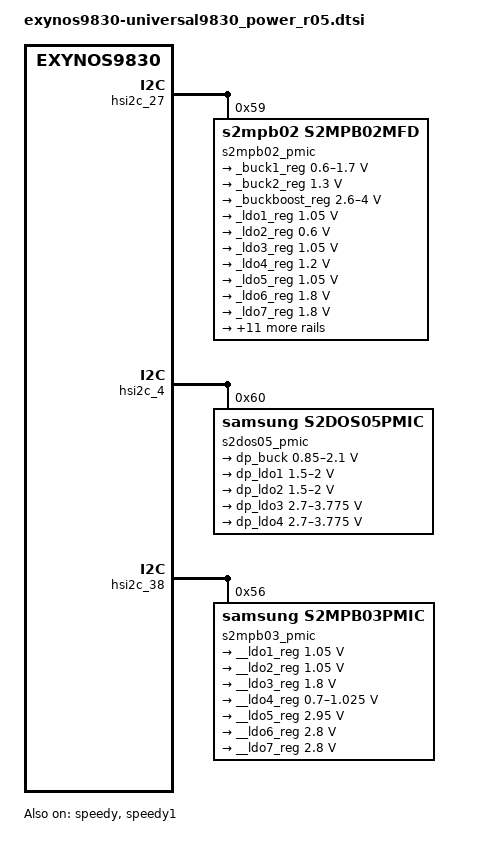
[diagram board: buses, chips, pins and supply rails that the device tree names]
/*
 * SAMSUNG EXYNOS9830 power management device tree source
 *
 * Copyright (c) 2019 Samsung Electronics Co., Ltd.
 *		http://www.samsung.com
 *
 * This program is free software; you can redistribute it and/or modify
 * it under the terms of the GNU General Public License version 2 as
 * published by the Free Software Foundation.
*/

&pinctrl_0 {
	m_pmic_irq: m-pmic-irq {
		samsung,pins = "gpa0-1";
		samsung,pin-pud = <3>;
		samsung,pin-drv = <3>;
	};

	s_pmic_irq: s-pmic-irq {
		samsung,pins = "gpa2-5";
		samsung,pin-pud = <3>;
		samsung,pin-drv = <3>;
	};

	dp_pmic_irq: dp-pmic-irq {
		samsung,pins = "gpa1-4";
		samsung,pin-function = <0>;
		samsung,pin-pud = <0>;
		samsung,pin-drv = <0>;
	};
};

&pinctrl_5 {
	sub_pmic_irq: sub-pmic-irq {
		samsung,pins = "gpg1-2";
		samsung,pin-function = <0>;
		samsung,pin-pud = <0>;
		samsung,pin-drv = <0>;
	};
};

&pinctrl_4 {
	smpl_warn: smpl-warn {
		samsung,pins = "gpg0-1";
		samsung,pin-function = <15>;
		samsung,pin-pud = <0>;
		samsung,pin-drv = <0>;
	};
};

&speedy {
	#address-cells = <1>;
	#size-cells = <0>;
	status = "okay";
	s2mps19mfd@00 {
		compatible = "samsung,s2mps19mfd";
		acpm-ipc-channel = <2>;
		acpm-speedy-channel = <0>;
		i2c-speedy-address;
		s2mps19,wakeup = "enabled";
		s2mps19,irq-gpio = <&gpa0 1 0>;
		reg = <0x00>;
		interrupts = <1 0 0>;
		interrupt-parent = <&gpa0>;
		pinctrl-names = "default";
		pinctrl-0 = <&m_pmic_irq &smpl_warn>;
		gpios = <&gpg0 1 0>;
		smpl_warn_en = <1>; /* 1 : enable , 0 : disable */
		/* range of smpl_warn_vth */
		/* 0x00 : 2.1V, 0x20 : 2.3V, 0x40 : 2.5V, 0x60 : 2.7V 0x80 : 2.9V */
		/* 0xA0 : 3.1V, 0xC0 : 3.3V, 0xE0 : 3.5V */
		smpl_warn_vth = <0x80>;
		/* LowBat_Hys[4:3] 00(100mV), 01(200mV), 10(300mV), 11(400mV) */
		smpl_warn_hys = <0x00>;
		ocp_warn1_en = <1>; /* 1 : enable, 0 : disable */
		ocp_warn1_cnt = <0>; /* ocp warn reset timing control, 0 : 2 clock, 1 : 32 clock */
		ocp_warn1_dvs_mask = <0>; /* ocp warn mask when dvs, 0 : not masked, 1 : masked  */
		ocp_warn1_lv = <0x0>; /* step : -250mA */
		ocp_warn2_en = <0>; /* 1 : enable, 0 : disable */
		ocp_warn2_cnt = <0>; /* ocp warn reset timing control, 0 : 2 clock, 1 : 32 clock */
		ocp_warn2_dvs_mask = <0>; /* ocp warn mask when dvs, 0 : not masked, 1 : masked  */
		ocp_warn2_lv = <0x0>; /* step : -250mA */
		adc_mode = <1>; /* 0 : disable, 1 : current meter, 2 : power meter */
		adc_sync_mode = <2>; /* 1 : sync mode, 2 : async mode */
		/* RTC: wtsr/smpl */
		wtsr_en = "enabled"; /* enable */
		smpl_en = "enabled"; /* enable */
		wtsr_timer_val = <3>;	/* 1000ms */
		smpl_timer_val = <4>;	/* 500ms */
		sub_smpl_en = "enabled"; /* enable */
		check_jigon = <0>; /* do not check jigon */
		/* RTC: If it's first boot, reset rtc to 1/1/2017 12:00:00(Sun) */
		init_time,sec = <0>;
		init_time,min = <0>;
		init_time,hour = <12>;
		init_time,mday = <1>;
		init_time,mon = <0>;
		init_time,year = <117>;
		init_time,wday = <0>;

		regulators {
			buck1_reg: BUCK1M {
				regulator-name = "m_vdd_buck1";
				regulator-min-microvolt = <450000>;
				regulator-max-microvolt = <1100000>;
				regulator-always-on;
				regulator-ramp-delay = <6000>;
				regulator-initial-mode = <2>;
			};

			buck2_reg: BUCK2M {
				regulator-name = "m_vdd_buck2";
				regulator-min-microvolt = <450000>;
				regulator-max-microvolt = <1300000>;
				regulator-always-on;
				regulator-ramp-delay = <6000>;
				regulator-initial-mode = <2>;
			};

			buck3_reg: BUCK3M {
				regulator-name = "m_vdd_buck3";
				regulator-min-microvolt = <450000>;
				regulator-max-microvolt = <1300000>;
				regulator-always-on;
				regulator-ramp-delay = <6000>;
				regulator-initial-mode = <2>;
			};

			buck5_reg: BUCK5M {
				regulator-name = "m_vdd_buck5";
				regulator-min-microvolt = <450000>;
				regulator-max-microvolt = <1100000>;
				regulator-always-on;
				regulator-ramp-delay = <6000>;
				regulator-initial-mode = <2>;
			};

			buck6_reg: BUCK6M {
				regulator-name = "m_vdd_buck6";
				regulator-min-microvolt = <450000>;
				regulator-max-microvolt = <1100000>;
				regulator-always-on;
				regulator-ramp-delay = <6000>;
				regulator-initial-mode = <1>;
			};

			buck7_reg: BUCK7M {
				regulator-name = "m_vdd_buck7";
				regulator-min-microvolt = <450000>;
				regulator-max-microvolt = <1300000>;
				regulator-always-on;
				regulator-ramp-delay = <6000>;
				regulator-initial-mode = <2>;
			};

			buck8_reg: BUCK8M {
				regulator-name = "m_vdd_buck8";
				regulator-min-microvolt = <450000>;
				regulator-max-microvolt = <950000>;
				regulator-always-on;
				regulator-ramp-delay = <6000>;
				regulator-initial-mode = <2>;
			};

			buck9_reg: BUCK9M {
				regulator-name = "m_vdd_buck9";
				regulator-min-microvolt = <800000>;
				regulator-max-microvolt = <1300000>;
				regulator-always-on;
				regulator-ramp-delay = <6000>;
				regulator-initial-mode = <3>;
			};

			buck10_reg: BUCK10M {
				regulator-name = "m_vdd_buck10";
				regulator-min-microvolt = <800000>;
				regulator-max-microvolt = <1300000>;
				regulator-always-on;
				regulator-ramp-delay = <6000>;
				regulator-initial-mode = <3>;
			};

			buck11_reg: BUCK11M {
				regulator-name = "m_vdd_buck11";
				regulator-min-microvolt = <1100000>;
				regulator-max-microvolt = <1500000>;
				regulator-always-on;
				regulator-ramp-delay = <6000>;
				regulator-initial-mode = <3>;
			};

			buck12_reg: BUCK12M {
				regulator-name = "m_vdd_buck12";
				regulator-min-microvolt = <1750000>;
				regulator-max-microvolt = <2150000>;
				regulator-always-on;
				regulator-ramp-delay = <6000>;
				regulator-initial-mode = <3>;
			};

			ldo1_reg: LDO1M {
				regulator-name = "m_vdd_ldo1";
				regulator-min-microvolt = <700000>;
				regulator-max-microvolt = <950000>;
				regulator-always-on;
				regulator-ramp-delay = <12000>;
				regulator-initial-mode = <3>;
			};

			ldo2_reg: LDO2M {
				regulator-name = "vqmmc";
				regulator-min-microvolt = <1700000>;
				regulator-max-microvolt = <3300000>;
				regulator-ramp-delay = <12000>;
				regulator-initial-mode = <3>;
			};

			ldo3_reg: LDO3M {
				regulator-name = "m_vdd_ldo3";
				regulator-min-microvolt = <700000>;
				regulator-max-microvolt = <1100000>;
				regulator-always-on;
				regulator-ramp-delay = <12000>;
				regulator-initial-mode = <1>;
			};

			ldo4_reg: LDO4M {
				regulator-name = "m_vdd_ldo4";
				regulator-min-microvolt = <1600000>;
				regulator-max-microvolt = <1950000>;
				regulator-always-on;
				regulator-ramp-delay = <12000>;
				regulator-initial-mode = <1>;
			};

			ldo5_reg: LDO5M {
				regulator-name = "m_vdd_ldo5";
				regulator-min-microvolt = <450000>;
				regulator-max-microvolt = <1100000>;
				regulator-always-on;
				regulator-ramp-delay = <12000>;
				regulator-initial-mode = <1>;
			};

			ldo6_reg: LDO6M {
				regulator-name = "m_vdd_ldo6";
				regulator-min-microvolt = <450000>;
				regulator-max-microvolt = <950000>;
				regulator-always-on;
				regulator-ramp-delay = <12000>;
				regulator-initial-mode = <1>;
			};

			ldo9_reg: LDO9M {
				regulator-name = "m_vdd_ldo9";
				regulator-min-microvolt = <700000>;
				regulator-max-microvolt = <1300000>;
				regulator-always-on;
				regulator-ramp-delay = <12000>;
				regulator-initial-mode = <1>;
			};

			ldo10_reg: LDO10M {
				regulator-name = "m_vdd_ldo10";
				regulator-min-microvolt = <700000>;
				regulator-max-microvolt = <1100000>;
				regulator-boot-on;
				regulator-ramp-delay = <12000>;
				regulator-initial-mode = <3>;
			};

			ldo11_reg: LDO11M {
				regulator-name = "m_vdd_ldo11";
				regulator-min-microvolt = <1600000>;
				regulator-max-microvolt = <1950000>;
				regulator-boot-on;
				regulator-ramp-delay = <12000>;
				regulator-initial-mode = <3>;
			};

			ldo12_reg: LDO12M {
				regulator-name = "m_vdd_ldo12";
				regulator-min-microvolt = <1700000>;
				regulator-max-microvolt = <3350000>;
				regulator-boot-on;
				regulator-ramp-delay = <12000>;
				regulator-initial-mode = <3>;
			};

			ldo13_reg: LDO13M {
				regulator-name = "m_vdd_ldo13";
				regulator-min-microvolt = <1800000>;
				regulator-max-microvolt = <3350000>;
				regulator-boot-on;
				regulator-ramp-delay = <12000>;
				regulator-initial-mode = <1>;
			};

			ldo14_reg: LDO14M {
				regulator-name = "m_vdd_ldo14";
				regulator-min-microvolt = <1800000>;
				regulator-max-microvolt = <3350000>;
				regulator-boot-on;
				regulator-ramp-delay = <12000>;
				regulator-initial-mode = <1>;
			};

			ldo15_reg: LDO15M {
				regulator-name = "vmmc";
				regulator-min-microvolt = <2500000>;
				regulator-max-microvolt = <3300000>;
				regulator-ramp-delay = <12000>;
				regulator-initial-mode = <3>;
			};

			ldo16_reg: LDO16M {
				regulator-name = "m_vdd_ldo16";
				regulator-min-microvolt = <2500000>;
				regulator-max-microvolt = <3300000>;
				regulator-always-on;
				regulator-ramp-delay = <12000>;
				regulator-initial-mode = <3>;
			};

			ldo17_reg: LDO17M {
				regulator-name = "m_vdd_ldo17";
				regulator-min-microvolt = <1600000>;
				regulator-max-microvolt = <2200000>;
				regulator-always-on;
				regulator-ramp-delay = <12000>;
				regulator-initial-mode = <3>;
			};

			ldo18_reg: LDO18M {
				regulator-name = "m_vdd_ldo18";
				regulator-min-microvolt = <700000>;
				regulator-max-microvolt = <1300000>;
				regulator-always-on;
				regulator-ramp-delay = <12000>;
				regulator-initial-mode = <3>;
			};

			ldo19_reg: LDO19M {
				regulator-name = "m_vdd_ldo19";
				regulator-min-microvolt = <1600000>;
				regulator-max-microvolt = <2200000>;
				regulator-always-on;
				regulator-ramp-delay = <12000>;
				regulator-initial-mode = <3>;
			};

			ldo20_reg: LDO20M {
				regulator-name = "m_vdd_ldo20";
				regulator-min-microvolt = <2500000>;
				regulator-max-microvolt = <3300000>;
				regulator-always-on;
				regulator-ramp-delay = <12000>;
				regulator-initial-mode = <3>;
			};

			ldo21_reg: LDO21M {
				regulator-name = "m_vdd_ldo21";
				regulator-min-microvolt = <1600000>;
				regulator-max-microvolt = <2200000>;
				regulator-always-on;
				regulator-ramp-delay = <12000>;
				regulator-initial-mode = <3>;
			};

			ldo22_reg: LDO22M {
				regulator-name = "m_vdd_ldo22";
				regulator-min-microvolt = <1600000>;
				regulator-max-microvolt = <2200000>;
				regulator-always-on;
				regulator-ramp-delay = <12000>;
				regulator-initial-mode = <3>;
			};

			ldo23_reg: LDO23M {
				regulator-name = "VDDD_1.2V_FRONTSUB";
				regulator-min-microvolt = <700000>;
				regulator-max-microvolt = <1300000>;
				regulator-ramp-delay = <12000>;
				regulator-initial-mode = <3>;
			};

			ldo24_reg: LDO24M {
				regulator-name = "VDDA_2.8V_FRONTSUB";
				regulator-min-microvolt = <2500000>;
				regulator-max-microvolt = <3300000>;
				regulator-ramp-delay = <12000>;
				regulator-initial-mode = <3>;
			};

			ldo25_reg: LDO25M {
				regulator-name = "VDDIO_1.8V_FRONTSUB";
				regulator-min-microvolt = <1600000>;
				regulator-max-microvolt = <2200000>;
				regulator-ramp-delay = <12000>;
				regulator-initial-mode = <3>;
			};

			ldo26_reg: LDO26M {
				regulator-name = "m_vdd_ldo26";
				regulator-min-microvolt = <1800000>;
				regulator-max-microvolt = <2200000>;
				regulator-always-on;
				regulator-ramp-delay = <12000>;
				regulator-initial-mode = <3>;
			};

			ldo27_reg: LDO27M {
				regulator-name = "m_vdd_ldo27";
				regulator-min-microvolt = <2500000>;
				regulator-max-microvolt = <3300000>;
				regulator-always-on;
				regulator-ramp-delay = <12000>;
				regulator-initial-mode = <3>;
			};

			ldo28_reg: LDO28M {
				regulator-name = "m_vdd_ldo28";
				regulator-min-microvolt = <1600000>;
				regulator-max-microvolt = <2200000>;
				regulator-always-on;
				regulator-ramp-delay = <12000>;
				regulator-initial-mode = <3>;
			};

			ldo29_reg: LDO29M {
				regulator-name = "m_vdd_ldo29";
				regulator-min-microvolt = <2500000>;
				regulator-max-microvolt = <3300000>;
				regulator-always-on;
				regulator-ramp-delay = <12000>;
				regulator-initial-mode = <3>;
			};
		};
	};
};

&speedy1 {
	#address-cells = <1>;
	#size-cells = <0>;
	status = "okay";
	s2mps22mfd@00 {
		compatible = "samsung,s2mps22mfd";
		acpm-ipc-channel = <2>;
		acpm-speedy-channel = <1>;
		i2c-speedy-address;
		s2mps22,wakeup = "enabled";
		s2mps22,irq-gpio = <&gpa2 5 0>;
		reg = <0x00>;
		interrupts = <1 0 0>;
		interrupt-parent = <&gpa2>;
		pinctrl-names = "default";
		pinctrl-0 = <&s_pmic_irq>;
		adc_mode = <1>; /* 0 : disable, 1 : current meter, 2 : power meter */
		adc_sync_mode = <2>; /* 1 : sync mode, 2 : async mode */
		wtsr_en = <1>; /* 0 : disable, 1 : enable */

		regulators {
			s_buck1_reg: BUCK1S {
				regulator-name = "s_vdd_buck1";
				regulator-min-microvolt = <450000>;
				regulator-max-microvolt = <950000>;
				regulator-always-on;
				regulator-ramp-delay = <6000>;
				regulator-initial-mode = <1>;
			};

			s_buck2_reg: BUCK2S {
				regulator-name = "s_vdd_buck2";
				regulator-min-microvolt = <450000>;
				regulator-max-microvolt = <1100000>;
				regulator-always-on;
				regulator-ramp-delay = <6000>;
				regulator-initial-mode = <1>;
			};

			s_buck3_reg: BUCK3S {
				regulator-name = "s_vdd_buck3";
				regulator-min-microvolt = <450000>;
				regulator-max-microvolt = <1300000>;
				regulator-always-on;
				regulator-ramp-delay = <6000>;
				regulator-initial-mode = <1>;
			};

			s_buck4_reg: BUCK4S {
				regulator-name = "s_vdd_buck4";
				regulator-min-microvolt = <900000>;
				regulator-max-microvolt = <1300000>;
				regulator-always-on;
				regulator-ramp-delay = <6000>;
				regulator-initial-mode = <3>;
			};

			s_ldo1_reg: LDO1S {
				regulator-name = "s_vdd_ldo1";
				regulator-min-microvolt = <450000>;
				regulator-max-microvolt = <950000>;
				regulator-always-on;
				regulator-ramp-delay = <12000>;
				regulator-initial-mode = <1>;
			};

			s_ldo2_reg: LDO2S {
				regulator-name = "s_vdd_ldo2";
				regulator-min-microvolt = <450000>;
				regulator-max-microvolt = <950000>;
				regulator-always-on;
				regulator-ramp-delay = <12000>;
				regulator-initial-mode = <1>;
			};

			s_ldo3_reg: LDO3S {
				regulator-name = "s_vdd_ldo3";
				regulator-min-microvolt = <450000>;
				regulator-max-microvolt = <1300000>;
				regulator-always-on;
				regulator-ramp-delay = <12000>;
				regulator-initial-mode = <1>;
			};

			s_ldo4_reg: LDO4S {
				regulator-name = "s_vdd_ldo4";
				regulator-min-microvolt = <1600000>;
				regulator-max-microvolt = <1950000>;
				regulator-always-on;
				regulator-ramp-delay = <12000>;
				regulator-initial-mode = <3>;
			};

			s_ldo5_reg: LDO5S {
				regulator-name = "s_vdd_ldo5";
				regulator-min-microvolt = <700000>;
				regulator-max-microvolt = <1100000>;
				regulator-always-on;
				regulator-ramp-delay = <12000>;
				regulator-initial-mode = <1>;
			};

			s_ldo6_reg: LDO6S {
				regulator-name = "s_vdd_ldo6";
				regulator-min-microvolt = <1600000>;
				regulator-max-microvolt = <1950000>;
				regulator-always-on;
				regulator-ramp-delay = <12000>;
				regulator-initial-mode = <1>;
			};
		};
	};
};

&hsi2c_27 {
	#address-cells = <1>;
	#size-cells = <0>;
	status = "okay";
	s2mpb02_pmic@59 {
		compatible = "s2mpb02,s2mpb02mfd";
		reg = <0x59>;

		s2mpb02,wakeup;
		pinctrl-names = "default";
		pinctrl-0 = <&sub_pmic_irq>;

		regulators {
			_buck1_reg: s2mpb02-buck1 {
				regulator-name = "S2MPB02_BUCK1";
				regulator-min-microvolt = <600000>;
				regulator-max-microvolt = <1700000>;
				regulator-always-on;
				regulator-boot-on;
			};

			_buck2_reg: s2mpb02-buck2 {
				regulator-name = "S2MPB02_BUCK2";
				regulator-min-microvolt = <1300000>;
				regulator-max-microvolt = <1300000>;
				regulator-always-on;
				regulator-boot-on;
			};

			_buckboost_reg: s2mpb02-bb {
				regulator-name = "S2MPB02_BB";
				regulator-min-microvolt = <2600000>;
				regulator-max-microvolt = <4000000>;
				regulator-always-on;
				regulator-boot-on;
			};

			_ldo1_reg: s2mpb02-ldo1 {
				regulator-name = "VDDPHY_1.05V_CAM";
				regulator-min-microvolt = <1050000>;
				regulator-max-microvolt = <1050000>;
			};

			_ldo2_reg: s2mpb02-ldo2 {
				regulator-name = "S2MPB02_LDO2";
				regulator-min-microvolt = <600000>;
				regulator-max-microvolt = <600000>;
			};

			_ldo3_reg: s2mpb02-ldo3 {
				regulator-name = "VDDD_1.05V_WIDESUB";
				regulator-min-microvolt = <1050000>;
				regulator-max-microvolt = <1050000>;
			};

			_ldo4_reg: s2mpb02-ldo4 {
				regulator-name = "VDDD_1.2V_TOF";
				regulator-min-microvolt = <1200000>;
				regulator-max-microvolt = <1200000>;
			};

			_ldo5_reg: s2mpb02-ldo5 {
				regulator-name = "VDDD_1.05V_VT";
				regulator-min-microvolt = <1050000>;
				regulator-max-microvolt = <1050000>;
			};

			_ldo6_reg: s2mpb02-ldo6 {
				regulator-name = "VDDIO_1.8V_VT";
				regulator-min-microvolt = <1800000>;
				regulator-max-microvolt = <1800000>;
			};

			_ldo7_reg: s2mpb02-ldo7 {
				regulator-name = "VDDIO_1.8V_SUB";
				regulator-min-microvolt = <1800000>;
				regulator-max-microvolt = <1800000>;
			};

			_ldo8_reg: s2mpb02-ldo8 {
				regulator-name = "VDDIO_1.8V_WIDESUB";
				regulator-min-microvolt = <1800000>;
				regulator-max-microvolt = <1800000>;
			};

			_ldo9_reg: s2mpb02-ldo9 {
				regulator-name = "VDDIO_1.8V_TOF";
				regulator-min-microvolt = <1800000>;
				regulator-max-microvolt = <1800000>;
			};

			_ldo10_reg: s2mpb02-ldo10 {
				regulator-name = "VDDD_1.8V_OIS";
				regulator-min-microvolt = <1800000>;
				regulator-max-microvolt = <1800000>;
			};

			_ldo11_reg: s2mpb02-ldo11 {
				regulator-name = "VDDA_2.8V_SUB";
				regulator-min-microvolt = <2800000>;
				regulator-max-microvolt = <2800000>;
			};

			_ldo12_reg: s2mpb02-ldo12 {
				regulator-name = "VDDAF_2.8V_SUB";
				regulator-min-microvolt = <2800000>;
				regulator-max-microvolt = <2800000>;
			};

			_ldo13_reg: s2mpb02-ldo13 {
				regulator-name = "VDDA_2.8V_CAM";
				regulator-min-microvolt = <2800000>;
				regulator-max-microvolt = <2800000>;
			};

			_ldo14_reg: s2mpb02-ldo14 {
				regulator-name = "VDDAF_COMMON_CAM";
				regulator-min-microvolt = <3300000>;
				regulator-max-microvolt = <3300000>;
			};

			_ldo15_reg: s2mpb02-ldo15 {
				regulator-name = "VDDD_3.3V_TOF";
				regulator-min-microvolt = <3300000>;
				regulator-max-microvolt = <3300000>;
			};

			_ldo16_reg: s2mpb02-ldo16 {
				regulator-name = "VDDAF_2.8V_VT";
				regulator-min-microvolt = <2800000>;
				regulator-max-microvolt = <2800000>;
			};

			_ldo17_reg: s2mpb02-ldo17 {
				regulator-name = "VDDA_2.7V_TOF";
				regulator-min-microvolt = <2700000>;
				regulator-max-microvolt = <2700000>;
			};

			_ldo18_reg: s2mpb02-ldo18 {
				regulator-name = "S2MPB02_LDO18";
				regulator-min-microvolt = <3300000>;
				regulator-max-microvolt = <3300000>;
				regulator-always-on;
				regulator-boot-on;
			};
		};
	};
};

&hsi2c_4 {
	#address-cells = <1>;
	#size-cells = <0>;
	status = "okay";
	s2dos05_pmic@60 {
		compatible = "samsung,s2dos05pmic";
		reg = <0x60>;
		s2dos05,wakeup;
		pinctrl-names = "default";
		pinctrl-0 = <&dp_pmic_irq>;
		s2dos05,s2dos05_int = <&gpa1 4 0>;
		adc_mode = <1>; /* 0 : disable, 1 : current meter, 2 : power meter */
		adc_sync_mode = <2>; /* 1 : sync mode, 2 : async mode */
		regulators {
			dp_buck: s2dos05-buck1 {
				regulator-name = "vdd1";
				regulator-min-microvolt = <850000>;
				regulator-max-microvolt = <2100000>;
				regulator-always-on;
				regulator-boot-on;
			};
			dp_ldo1: s2dos05-ldo1 {
				regulator-name = "vdd2";
				regulator-min-microvolt = <1500000>;
				regulator-max-microvolt = <2000000>;
				regulator-always-on;
				regulator-boot-on;
			};
			dp_ldo2: s2dos05-ldo2 {
				regulator-name = "vdd3";
				regulator-min-microvolt = <1500000>;
				regulator-max-microvolt = <2000000>;
				regulator-always-on;
				regulator-boot-on;
			};
			dp_ldo3: s2dos05-ldo3{
				regulator-name = "vdd4";
				regulator-min-microvolt = <2700000>;
				regulator-max-microvolt = <3775000>;
				regulator-always-on;
				regulator-boot-on;
			};
			dp_ldo4: s2dos05-ldo4{
				regulator-name = "vdd5";
				regulator-min-microvolt = <2700000>;
				regulator-max-microvolt = <3775000>;
				regulator-always-on;
				regulator-boot-on;
			};
		};
	};
};

&hsi2c_38 {
	#address-cells = <1>;
	#size-cells = <0>;
	status = "okay";
	s2mpb03_pmic@56 {
		compatible = "samsung,s2mpb03pmic";
		reg = <0x56>;

		s2mpb03,wakeup;

		regulators {
			__ldo1_reg: s2mpb03-ldo1 {
				regulator-name = "VDDD_1.05V_SUB";
				regulator-min-microvolt = <1050000>;
				regulator-max-microvolt = <1050000>;
			};

			__ldo2_reg: s2mpb03-ldo2 {
				regulator-name = "VDDD_1.05V_CAM";
				regulator-min-microvolt = <1050000>;
				regulator-max-microvolt = <1050000>;
			};

			__ldo3_reg: s2mpb03-ldo3 {
				regulator-name = "VDDIO_1.8V_CAM";
				regulator-min-microvolt = <1800000>;
				regulator-max-microvolt = <1800000>;
			};

			__ldo4_reg: s2mpb03-ldo4 {
				regulator-name = "VDDD_RET_1.0V_CAM";
				regulator-min-microvolt = <700000>;
				regulator-max-microvolt = <1025000>;
			};

			__ldo5_reg: s2mpb03-ldo5 {
				regulator-name = "VDDA_2.95V_VT";
				regulator-min-microvolt = <2950000>;
				regulator-max-microvolt = <2950000>;
			};

			__ldo6_reg: s2mpb03-ldo6 {
				regulator-name = "VDDA_2.8V_WIDESUB";
				regulator-min-microvolt = <2800000>;
				regulator-max-microvolt = <2800000>;
			};

			__ldo7_reg: s2mpb03-ldo7 {
				regulator-name = "VDD_VM_2.8V_OIS";
				regulator-min-microvolt = <2800000>;
				regulator-max-microvolt = <2800000>;
			};
		};
	};
};
